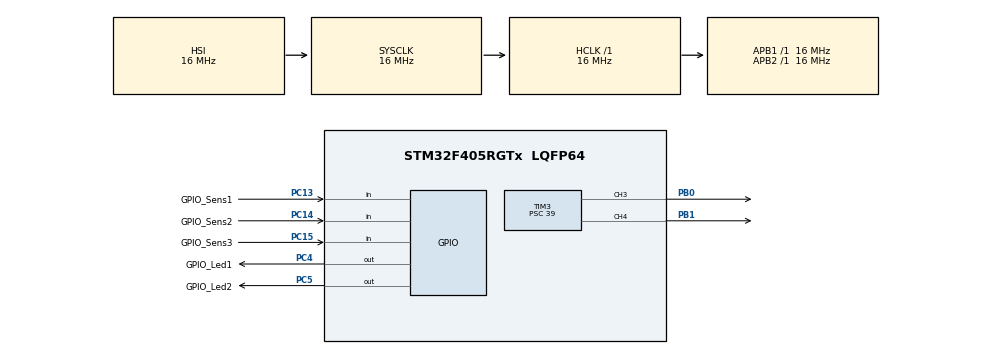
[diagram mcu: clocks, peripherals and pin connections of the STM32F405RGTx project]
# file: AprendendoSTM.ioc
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Mcu.Family=STM32F4
Mcu.Name=STM32F405RGTx
Mcu.Package=LQFP64
NVIC.PriorityGroup=NVIC_PRIORITYGROUP_4
PB0.Signal=S_TIM3_CH3
PB1.Signal=S_TIM3_CH4
PC13-ANTI_TAMP.GPIO_Label=GPIO_Sens1
PC13-ANTI_TAMP.GPIO_PuPd=GPIO_PULLDOWN
PC13-ANTI_TAMP.Signal=GPIO_Input
PC14-OSC32_IN.GPIO_Label=GPIO_Sens2
PC14-OSC32_IN.GPIO_PuPd=GPIO_PULLDOWN
PC14-OSC32_IN.Signal=GPIO_Input
PC15-OSC32_OUT.GPIO_Label=GPIO_Sens3
PC15-OSC32_OUT.GPIO_PuPd=GPIO_PULLDOWN
PC15-OSC32_OUT.Signal=GPIO_Input
PC4.GPIO_Label=GPIO_Led1
PC4.GPIO_PuPd=GPIO_NOPULL
PC4.Signal=GPIO_Output
PC5.GPIO_Label=GPIO_Led2
PC5.GPIO_PuPd=GPIO_NOPULL
PC5.Signal=GPIO_Output
ProjectManager.HeapSize=0x200
ProjectManager.StackSize=0x400
ProjectManager.TargetToolchain=STM32CubeIDE
RCC.AHBFreq_Value=16000000
RCC.APB1Freq_Value=16000000
RCC.APB2Freq_Value=16000000
RCC.CortexFreq_Value=16000000
RCC.HSE_VALUE=25000000
RCC.HSI_VALUE=16000000
RCC.LSE_VALUE=32768
RCC.SYSCLKFreq_VALUE=16000000
RCC.VCOOutputFreq_Value=192000000
SH.S_TIM3_CH3.0=TIM3_CH3,PWM Generation3 CH3
SH.S_TIM3_CH4.0=TIM3_CH4,PWM Generation4 CH4
TIM3.Channel-PWM\ Generation3\ CH3=TIM_CHANNEL_3
TIM3.Channel-PWM\ Generation4\ CH4=TIM_CHANNEL_4
TIM3.Period=255
TIM3.Prescaler=39
board=custom

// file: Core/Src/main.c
/* USER CODE BEGIN Header */
/**
  ******************************************************************************
  * @file           : main.c
  * @brief          : Main program body
  ******************************************************************************
  * @attention
  *
  * Copyright (c) 2022 STMicroelectronics.
  * All rights reserved.
  *
  * This software is licensed under terms that can be found in the LICENSE file
  * in the root directory of this software component.
  * If no LICENSE file comes with this software, it is provided AS-IS.
  *
  ******************************************************************************
  */
/* USER CODE END Header */
#include "main.h"
#include "tim.h"
#include "gpio.h"

/* USER CODE BEGIN PV */
	uint16_t Sensor1;
	GPIO_PinState Sensor2;
	GPIO_PinState Sensor3;
	int pwm;
/* USER CODE END PV */

void SystemClock_Config(void);

int main(void)
{

  /* MCU Configuration--------------------------------------------------------*/

  /* Reset of all peripherals, Initializes the Flash interface and the Systick. */
  HAL_Init();

  /* Configure the system clock */
  SystemClock_Config();

  /* Initialize all configured peripherals */
  MX_GPIO_Init();
  MX_TIM3_Init();
  /* USER CODE BEGIN 2 */
	HAL_TIM_PWM_Start(&htim3, TIM_CHANNEL_3); // Configura o timer 3 com o canal 3
	HAL_TIM_PWM_Start(&htim3, TIM_CHANNEL_4); // Configura o timer 3 com o canal 4
  /* USER CODE END 2 */

  /* Infinite loop */
  while (1)
  {

    /* USER CODE BEGIN 3 */
	  	//Aprendendo a ler o pino de entrada

	  	Sensor1 = HAL_GPIO_ReadPin(GPIO_Sens1_GPIO_Port, GPIO_Sens1_Pin); // Lê o valor que está na entrada do sensor 1 e armazena na variável "Sensor1"
	  	Sensor2 = HAL_GPIO_ReadPin(GPIO_Sens2_GPIO_Port, GPIO_Sens2_Pin); // Lê o valor que está na entrada do sensor 2 e armazena na variável "Sensor2"
	  	Sensor3 = HAL_GPIO_ReadPin(GPIO_Sens3_GPIO_Port, GPIO_Sens3_Pin); // Lê o valor que está na entrada do sensor 3 e armazena na variável "Sensor3"

	  	//Aprendendo a usar PWM

	  	htim3.Instance->CCR3 = pwm; //PWM enviado para o timer 3 canal 3
	  	htim3.Instance->CCR4 = 255 - pwm; //PWM enviado para o timer 3 canal 4

	  	HAL_Delay(500);

	  	if(pwm > 0 && pwm < 300) {
	  		pwm += 10;
	  	} else {
	  		pwm = 1;
	  	}

	  	HAL_GPIO_WritePin(GPIO_Led1_GPIO_Port, GPIO_Led1_Pin, 1); //Torna a saída do led 1 em nível lógico baixo
	  	HAL_GPIO_WritePin(GPIO_Led2_GPIO_Port, GPIO_Led2_Pin, 0); //Torna a saída do led 2 em nível lógico alto
	  	/*
	  	//Aprendendo a escrever no pino de saída

	  	if(Sensor1 == 1) {
		HAL_GPIO_WritePin(GPIO_Led1_GPIO_Port, GPIO_Led1_Pin, 0);
		HAL_Delay(500);
		HAL_GPIO_WritePin(GPIO_Led1_GPIO_Port, GPIO_Led1_Pin, 1);
		HAL_Delay(500);
		HAL_GPIO_WritePin(GPIO_Led2_GPIO_Port, GPIO_Led2_Pin, 0);
		HAL_Delay(500);
		HAL_GPIO_WritePin(GPIO_Led2_GPIO_Port, GPIO_Led2_Pin, 1);
		HAL_Delay(500);
		HAL_GPIO_WritePin(GPIO_Led3_GPIO_Port, GPIO_Led3_Pin, 0);
		HAL_Delay(500);
		HAL_GPIO_WritePin(GPIO_Led3_GPIO_Port, GPIO_Led3_Pin, 1);
		HAL_Delay(500);
		HAL_GPIO_WritePin(GPIO_Led4_GPIO_Port, GPIO_Led4_Pin, 0);
		HAL_Delay(500);
		HAL_GPIO_WritePin(GPIO_Led4_GPIO_Port, GPIO_Led4_Pin, 1);
		HAL_Delay(500);
	} else if (Sensor2 == 1) {
		HAL_GPIO_WritePin(GPIO_Led1_GPIO_Port, GPIO_Led1_Pin, 0);
		HAL_Delay(500);
		HAL_GPIO_WritePin(GPIO_Led2_GPIO_Port, GPIO_Led2_Pin, 0);
		HAL_Delay(500);
		HAL_GPIO_WritePin(GPIO_Led3_GPIO_Port, GPIO_Led3_Pin, 0);
		HAL_Delay(500);
		HAL_GPIO_WritePin(GPIO_Led4_GPIO_Port, GPIO_Led4_Pin, 0);
		HAL_Delay(500);
		HAL_GPIO_WritePin(GPIO_Led1_GPIO_Port, GPIO_Led1_Pin, 1);
		HAL_Delay(500);
		HAL_GPIO_WritePin(GPIO_Led2_GPIO_Port, GPIO_Led2_Pin, 1);
		HAL_Delay(500);
		HAL_GPIO_WritePin(GPIO_Led3_GPIO_Port, GPIO_Led3_Pin, 1);
		HAL_Delay(500);
		HAL_GPIO_WritePin(GPIO_Led4_GPIO_Port, GPIO_Led4_Pin, 1);
		HAL_Delay(500);
	} else if (Sensor3 == 1) {
		HAL_GPIO_WritePin(GPIO_Led1_GPIO_Port, GPIO_Led1_Pin, 1);
		HAL_Delay(500);
		HAL_GPIO_WritePin(GPIO_Led2_GPIO_Port, GPIO_Led2_Pin, 1);
		HAL_Delay(500);
		HAL_GPIO_WritePin(GPIO_Led3_GPIO_Port, GPIO_Led3_Pin, 1);
		HAL_Delay(500);
		HAL_GPIO_WritePin(GPIO_Led4_GPIO_Port, GPIO_Led4_Pin, 1);
		HAL_Delay(500);
		HAL_GPIO_WritePin(GPIO_Led1_GPIO_Port, GPIO_Led1_Pin, 0);
		HAL_Delay(500);
		HAL_GPIO_WritePin(GPIO_Led2_GPIO_Port, GPIO_Led2_Pin, 0);
		HAL_Delay(500);
		HAL_GPIO_WritePin(GPIO_Led3_GPIO_Port, GPIO_Led3_Pin, 0);
		HAL_Delay(500);
		HAL_GPIO_WritePin(GPIO_Led4_GPIO_Port, GPIO_Led4_Pin, 0);
	} else if (Sensor1 == 0 & Sensor2 == 0 & Sensor3 == 0) {
		HAL_GPIO_WritePin(GPIO_Led1_GPIO_Port, GPIO_Led1_Pin, 1);
		HAL_Delay(500);
		HAL_GPIO_WritePin(GPIO_Led2_GPIO_Port, GPIO_Led2_Pin, 1);
		HAL_Delay(500);
		HAL_GPIO_WritePin(GPIO_Led3_GPIO_Port, GPIO_Led3_Pin, 1);
		HAL_Delay(500);
		HAL_GPIO_WritePin(GPIO_Led4_GPIO_Port, GPIO_Led4_Pin, 1);
		HAL_Delay(500);
	}

	*/
  }
  /* USER CODE END 3 */
}

void SystemClock_Config(void)
{
  RCC_OscInitTypeDef RCC_OscInitStruct = {0};
  RCC_ClkInitTypeDef RCC_ClkInitStruct = {0};

  /** Configure the main internal regulator output voltage
  */
  __HAL_RCC_PWR_CLK_ENABLE();
  __HAL_PWR_VOLTAGESCALING_CONFIG(PWR_REGULATOR_VOLTAGE_SCALE1);

  /** Initializes the RCC Oscillators according to the specified parameters
  * in the RCC_OscInitTypeDef structure.
  */
  RCC_OscInitStruct.OscillatorType = RCC_OSCILLATORTYPE_HSI;
  RCC_OscInitStruct.HSIState = RCC_HSI_ON;
  RCC_OscInitStruct.HSICalibrationValue = RCC_HSICALIBRATION_DEFAULT;
  RCC_OscInitStruct.PLL.PLLState = RCC_PLL_NONE;
  if (HAL_RCC_OscConfig(&RCC_OscInitStruct) != HAL_OK)
  {
    Error_Handler();
  }

  /** Initializes the CPU, AHB and APB buses clocks
  */
  RCC_ClkInitStruct.ClockType = RCC_CLOCKTYPE_HCLK|RCC_CLOCKTYPE_SYSCLK
                              |RCC_CLOCKTYPE_PCLK1|RCC_CLOCKTYPE_PCLK2;
  RCC_ClkInitStruct.SYSCLKSource = RCC_SYSCLKSOURCE_HSI;
  RCC_ClkInitStruct.AHBCLKDivider = RCC_SYSCLK_DIV1;
  RCC_ClkInitStruct.APB1CLKDivider = RCC_HCLK_DIV1;
  RCC_ClkInitStruct.APB2CLKDivider = RCC_HCLK_DIV1;

  if (HAL_RCC_ClockConfig(&RCC_ClkInitStruct, FLASH_LATENCY_0) != HAL_OK)
  {
    Error_Handler();
  }
}

void Error_Handler(void)
{
  __disable_irq();
  while (1)
  {
  }
}
